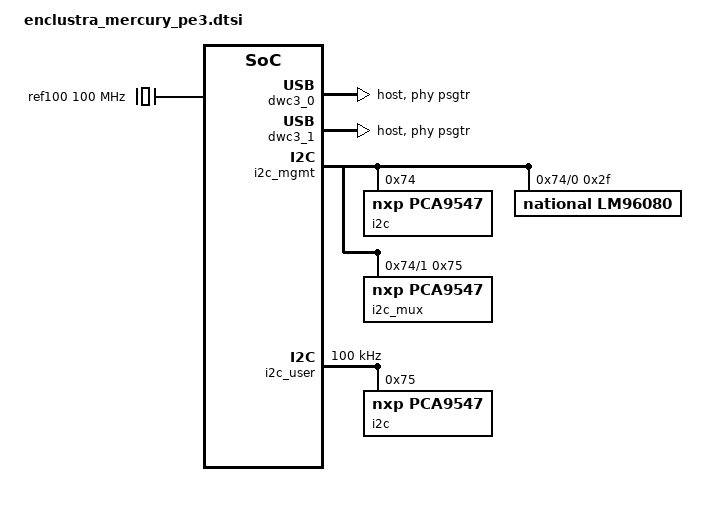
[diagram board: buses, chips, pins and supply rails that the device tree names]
#include <dt-bindings/phy/phy.h>

/ {
	aliases {
		mmc0 = &sdhci0;
		mmc1 = &sdhci1;
	};
};

&dwc3_0 {
	dr_mode = "host";
	snps,usb3_lpm_capable;
	phy-names = "usb3-phy";
	phys = <&psgtr 2 PHY_TYPE_USB3 0 2>;
	maximum-speed = "super-speed";
};

&dwc3_1 {
	dr_mode = "host";
	snps,usb3_lpm_capable;
	phy-names = "usb3-phy";
	phys = <&psgtr 3 PHY_TYPE_USB3 1 2>;
	maximum-speed = "super-speed";
};

/* SD1 with level shifter */
&sdhci1 {
	no-1-8-v;	/* for 1.0 silicon */
	wp-inverted;
	xlnx,mio_bank = <1>;
};

&amba {
	ref100: ref100M {
		compatible = "fixed-clock";
		#clock-cells = <0>;
		clock-frequency = <100000000>;
	};
};

&i2c_mgmt {
	i2c@74 {
		compatible = "nxp,pca9547";
		reg = <0x74>;
		i2c@0 {
			reg = <0>;
			lm96080@2f {
				compatible = "national,lm96080", "lm80";
				reg = <0x2f >;
			};
		};
		i2c@1 {
			reg = <1>;
			i2c_mux@75 {
				compatible = "nxp,pca9547";
				reg = <0x75>;
			};
		};
	};
};

&i2c_user {
	clock-frequency = <100000>;
	i2c@75 {
		compatible = "nxp,pca9547";
		reg = <0x75>;
	};
};

&sata {
	status = "disabled";
	ceva,p0-cominit-params = /bits/ 8 <0x18 0x40 0x18 0x28>;
	ceva,p0-comwake-params = /bits/ 8 <0x06 0x14 0x08 0x0E>;
	ceva,p0-burst-params = /bits/ 8 <0x13 0x08 0x4A 0x06>;
	ceva,p0-retry-params = /bits/ 16 <0x96A4 0x3FFC>;
	ceva,p1-cominit-params = /bits/ 8 <0x18 0x40 0x18 0x28>;
	ceva,p1-comwake-params = /bits/ 8 <0x06 0x14 0x08 0x0E>;
	ceva,p1-burst-params = /bits/ 8 <0x13 0x08 0x4A 0x06>;
	ceva,p1-retry-params = /bits/ 16 <0x96A4 0x3FFC>;
};

&zynqmp_dp_snd_pcm0 {
	status = "disabled";
};

&zynqmp_dp_snd_pcm1 {
	status = "disabled";
};

&zynqmp_dp_snd_card0 {
	status = "disabled";
};

&zynqmp_dp_snd_codec0 {
	status = "disabled";
};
